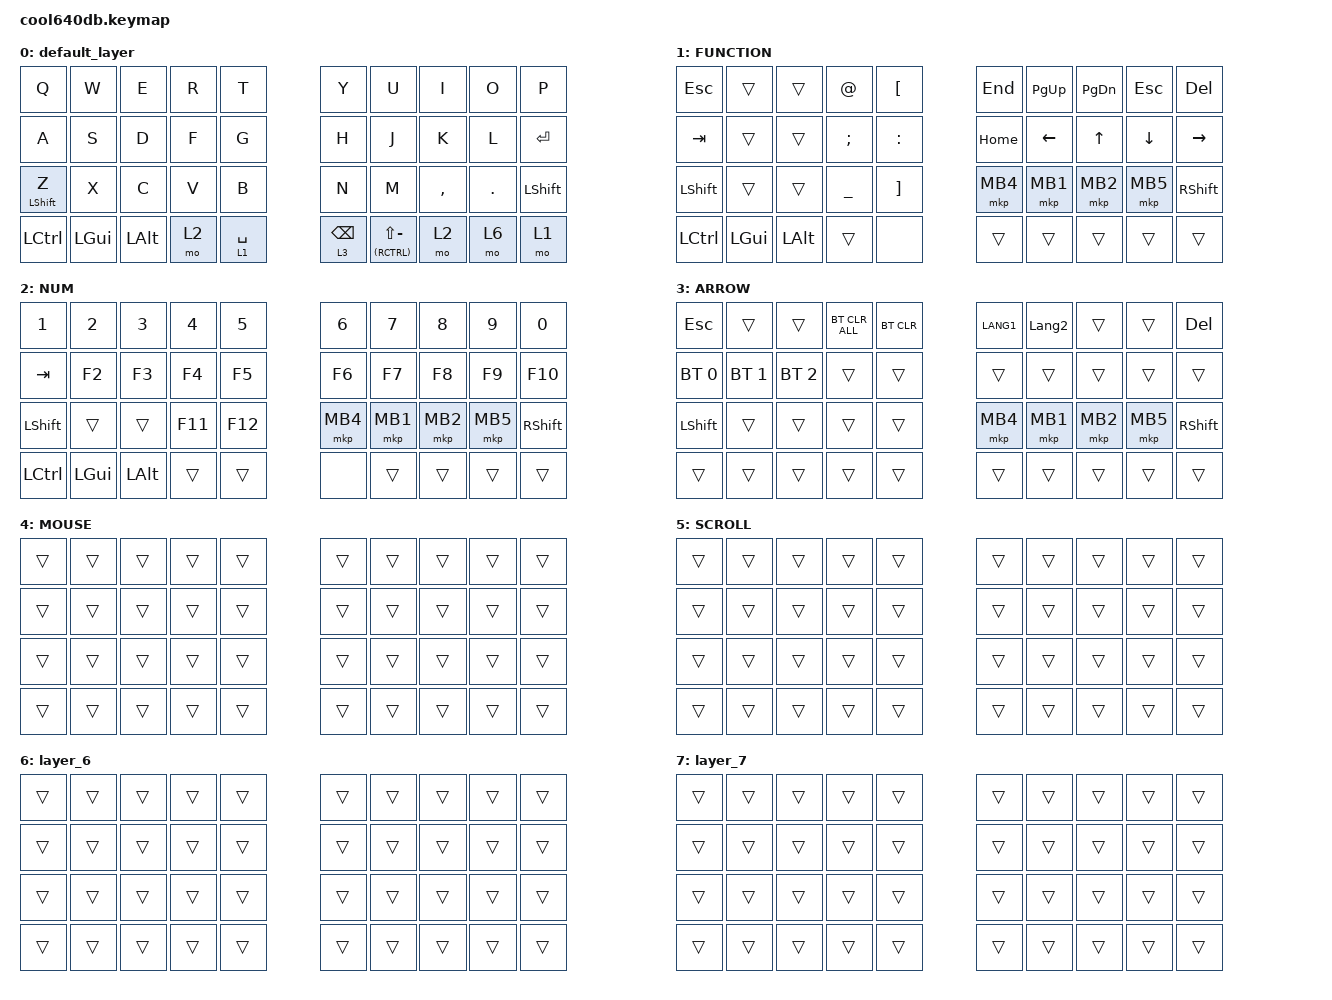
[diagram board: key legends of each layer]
#include <behaviors.dtsi>
#include <dt-bindings/zmk/bt.h>
#include <dt-bindings/zmk/keys.h>
#include <dt-bindings/zmk/pointing.h>

#define MOUSE 6

&mt {
    flavor = "balanced";
    quick-tap-ms = <0>;
};

/ {
    combos {
        compatible = "zmk,combos";

        ESC_ {
            bindings = <&kp ESCAPE>;
            key-positions = <0 1>;
            layers = <0>;
        };

        TAB_ {
            bindings = <&kp TAB>;
            key-positions = <10 11>;
        };

        caps {
            bindings = <&kp CAPS>;
            key-positions = <20 21>;
            layers = <0>;
        };

        BS {
            bindings = <&kp BACKSPACE>;
            key-positions = <9 8>;
            layers = <0>;
        };

        BT_ALL_CLEAR {
            bindings = <&bt BT_CLR_ALL>;
            key-positions = <9 8>;
            layers = <2>;
        };

        MB1_ {
            bindings = <&mkp MB1>;
            key-positions = <16 17>;
            layers = <0>;
        };

        MB2_ {
            bindings = <&mkp MB2>;
            key-positions = <18 17>;
            layers = <0>;
        };

        VOL_UP {
            bindings = <&kp C_VOLUME_UP>;
            key-positions = <5 6>;
            layers = <1>;
        };

        VOL_DOWN {
            bindings = <&kp C_VOLUME_DOWN>;
            key-positions = <4 3>;
            layers = <1>;
        };
    };

    macros {
        to_layer_0: to_layer_0 {
            compatible = "zmk,behavior-macro-one-param";
            #binding-cells = <1>;
            bindings = <&to 0 &macro_param_1to1 &kp MACRO_PLACEHOLDER>;
            label = "TO_LAYER_0";
        };
    };

    lt_to_layer_0: lt_to_layer_0 {
        compatible = "zmk,behavior-hold-tap";
        label = "LAYER_TAP_TO_0";
        bindings = <&mo>, <&to_layer_0>;

        #binding-cells = <2>;
        tapping-term-ms = <200>;
    };
};

/ {
    behaviors {
    };

    keymap {
        compatible = "zmk,keymap";

        default_layer {
            bindings = <
&kp Q             &kp W         &kp E         &kp R  &kp T        &kp Y            &kp U                  &kp I      &kp O       &kp P
&kp A             &kp S         &kp D         &kp F  &kp G        &kp H            &kp J                  &kp K      &kp L       &kp ENTER
&mt LSHFT Z       &kp X         &kp C         &kp V  &kp B        &kp N            &kp M                  &kp COMMA  &kp PERIOD  &kp LEFT_SHIFT
&kp LEFT_CONTROL  &kp LEFT_GUI  &kp LEFT_ALT  &mo 2  &lt 1 SPACE  &lt 3 BACKSPACE  &mt (RCTRL) LS(MINUS)  &mo 2      &mo 6       &mo 1
            >;
        };

        FUNCTION {
            bindings = <
&kp ESCAPE  &trans        &trans        &kp AT_SIGN     &kp LEFT_BRACKET   &kp END   &kp PAGE_UP  &kp PAGE_DOWN  &kp ESC   &kp DEL
&kp TAB     &trans        &trans        &kp SEMICOLON   &kp COLON          &kp HOME  &kp LEFT     &kp UP_ARROW   &kp DOWN  &kp RIGHT
&kp LSHFT   &trans        &trans        &kp UNDERSCORE  &kp RIGHT_BRACKET  &mkp MB4  &mkp MB1     &mkp MB2       &mkp MB5  &kp RIGHT_SHIFT
&kp LCTRL   &kp LEFT_GUI  &kp LEFT_ALT  &trans          &none              &trans    &trans       &trans         &trans    &trans
            >;
        };

        NUM {
            bindings = <
&kp NUMBER_1    &kp NUMBER_2  &kp NUMBER_3  &kp NUMBER_4  &kp N5   &kp NUMBER_6  &kp N7    &kp N8    &kp N9    &kp N0
&kp TAB         &kp F2        &kp F3        &kp F4        &kp F5   &kp F6        &kp F7    &kp F8    &kp F9    &kp F10
&kp LEFT_SHIFT  &trans        &trans        &kp F11       &kp F12  &mkp MB4      &mkp MB1  &mkp MB2  &mkp MB5  &kp RIGHT_SHIFT
&kp LCTRL       &kp LEFT_GUI  &kp LEFT_ALT  &trans        &trans   &none         &trans    &trans    &trans    &trans
            >;
        };

        ARROW {
            bindings = <
&kp ESCAPE      &trans        &trans        &bt BT_CLR_ALL  &bt BT_CLR  &kp LANG1  &kp LANGUAGE_2  &trans    &trans    &kp DELETE
&bt BT_SEL 0    &bt BT_SEL 1  &bt BT_SEL 2  &trans          &trans      &trans     &trans          &trans    &trans    &trans
&kp LEFT_SHIFT  &trans        &trans        &trans          &trans      &mkp MB4   &mkp MB1        &mkp MB2  &mkp MB5  &kp RIGHT_SHIFT
&trans          &trans        &trans        &trans          &trans      &trans     &trans          &trans    &trans    &trans
            >;
        };

        MOUSE {
            bindings = <
&trans  &trans  &trans  &trans  &trans  &trans  &trans  &trans  &trans  &trans
&trans  &trans  &trans  &trans  &trans  &trans  &trans  &trans  &trans  &trans
&trans  &trans  &trans  &trans  &trans  &trans  &trans  &trans  &trans  &trans
&trans  &trans  &trans  &trans  &trans  &trans  &trans  &trans  &trans  &trans
            >;
        };

        SCROLL {
            bindings = <
&trans  &trans  &trans  &trans  &trans  &trans  &trans  &trans  &trans  &trans
&trans  &trans  &trans  &trans  &trans  &trans  &trans  &trans  &trans  &trans
&trans  &trans  &trans  &trans  &trans  &trans  &trans  &trans  &trans  &trans
&trans  &trans  &trans  &trans  &trans  &trans  &trans  &trans  &trans  &trans
            >;
        };

        layer_6 {
            bindings = <
&trans  &trans  &trans  &trans  &trans  &trans  &trans  &trans  &trans  &trans
&trans  &trans  &trans  &trans  &trans  &trans  &trans  &trans  &trans  &trans
&trans  &trans  &trans  &trans  &trans  &trans  &trans  &trans  &trans  &trans
&trans  &trans  &trans  &trans  &trans  &trans  &trans  &trans  &trans  &trans
            >;
        };

        layer_7 {
            bindings = <
&trans  &trans  &trans  &trans  &trans  &trans  &trans  &trans  &trans  &trans
&trans  &trans  &trans  &trans  &trans  &trans  &trans  &trans  &trans  &trans
&trans  &trans  &trans  &trans  &trans  &trans  &trans  &trans  &trans  &trans
&trans  &trans  &trans  &trans  &trans  &trans  &trans  &trans  &trans  &trans
            >;
        };
    };
};
